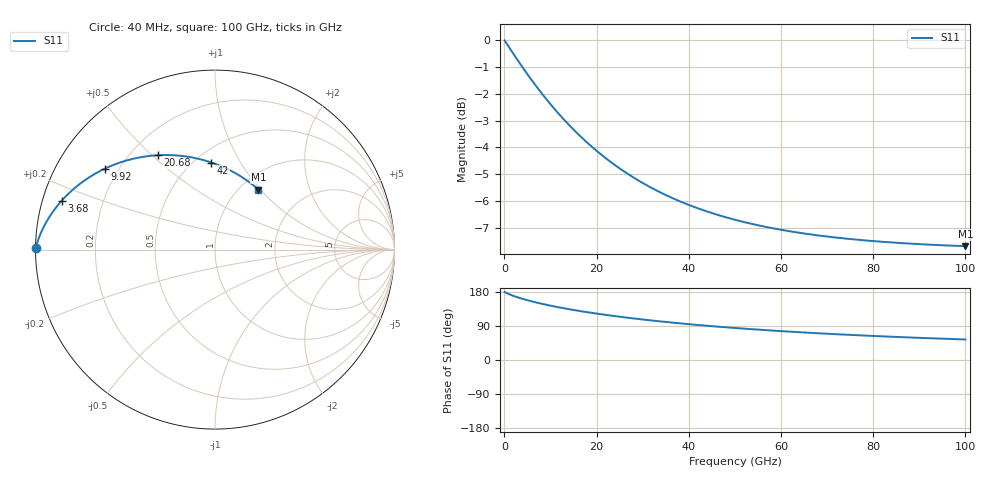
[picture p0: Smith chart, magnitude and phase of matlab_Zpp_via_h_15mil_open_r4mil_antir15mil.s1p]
#  GHz  S  RI  R  50
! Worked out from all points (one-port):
!   2500 points, 40 MHz to 100 GHz, reference 50 ohm
!   lowest |S11| = -7.7 dB at 100 GHz (marker M1), VSWR 2.41, Z = 60.4 + j48.7 ohm
!   |S11| at or under -10 dB: nowhere
!   S11 on the Smith chart (normalised r, x): 40 MHz: 0.00, +0.00; 3.68 GHz: 0.06, +0.16; 9.92 GHz: 0.15, +0.32; 20.68 GHz: 0.31, +0.52; 42 GHz: 0.60, +0.76; 100 GHz: 1.21, +0.97
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0.04  -0.9988 0.00688
0.36  -0.988 0.0461
1.12  -0.9596 0.116
1.8  -0.9323 0.1664
2.68  -0.8959 0.221
3.68  -0.8539 0.2726
5.04  -0.7974 0.3292
6.52  -0.7378 0.3774
8.16  -0.6751 0.4186
9.92  -0.6122 0.4518
12.56  -0.5264 0.4862
14.44  -0.4712 0.5024
16.48  -0.4166 0.5142
18.56  -0.3659 0.5217
20.68  -0.3189 0.5257
25.04  -0.2352 0.5259
27.92  -0.1879 0.5222
30.96  -0.1437 0.5161
34.16  -0.1025 0.5081
37.56  -0.0639 0.4986
42  -0.02 0.4852
45.88  0.0133 0.4731
50.04  0.0447 0.4601
56.04  0.0835 0.4418
62.52  0.1186 0.4229
75.04  0.1717 0.3894
87.52  0.2112 0.3602
100  0.2417 0.3347
